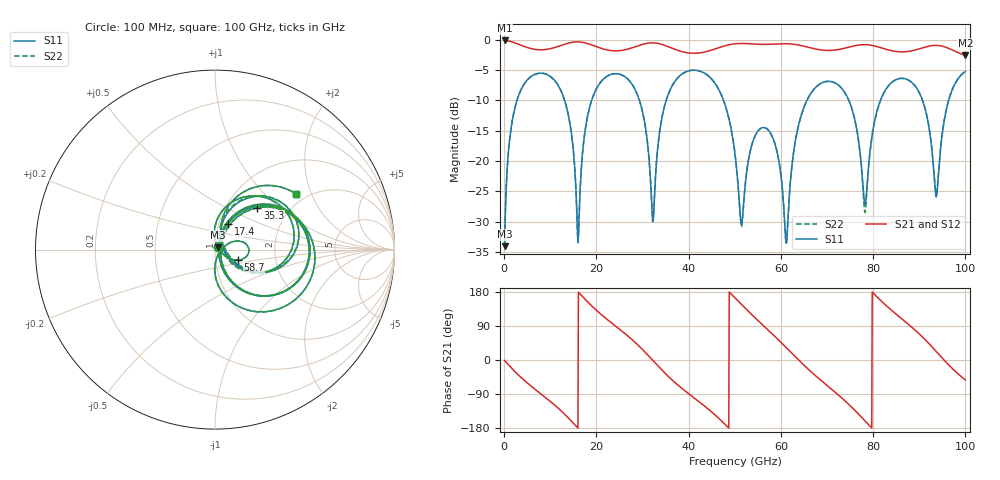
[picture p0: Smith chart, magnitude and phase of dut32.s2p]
! Touchstone file exported from HFSS 2026.1.0
!  File:  C:/ffzhzh/LocalFiles/Ansys_Project_Files/temp_train_TSV_RDL_32_1783441203_7600.aedt
!  Generated:  12:34:08 AM Jul  8, 2026
!  Design:  TSV_RDL
!  Project:  temp_train_TSV_RDL_32_1783441203_7600
! Variables:
!  h_bsmrdl = 4.23um
!  h_ox = 20um
!  h_rdl = 5um
!  h_sub = 95.53um
!  h_tmrdl = 3.39um
!  h_tsv = 95.53um
!  h_via = 3um
!  l_bsmrdl = 645.23um
!  l_sub = 3647.72um
!  l_tmrdl = 287.71um
!  m_sub = 200um
!  pitch = 55.62um
!  r_tsv = 5.39um
!  s_tmrdl = 10um
!  w_bsmrdl = 24.39um
!  w_sub = 500um
!  w_tmrdl = 29.34um
!  x_tsv_center1 = 302.38um
!  x_tsv_center2 = 972um
!  x_tsv_center3 = 1289.05um
!  x_tsv_center4 = 1958.67um
!  x_tsv_center5 = 2275.72um
!  x_tsv_center6 = 2945.34um
# GHz S MA R 50.000000
! Terminal data exported
! Port[1] = TM_RDL1_1_T1
! Port[2] = TM_RDL5_1_T1
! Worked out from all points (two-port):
!   1000 points, 100 MHz to 100 GHz, reference 50 ohm
!   highest |S21| = -0.13 dB at 100 MHz (marker M1); lowest = -2.6 dB at 100 GHz (marker M2)
!   |S21| within 3 dB of the highest: start of sweep to end of sweep
!   lowest |S11| = -34.0 dB at 100 MHz (marker M3), VSWR 1.04, Z = 51.5 + j1.39 ohm
!   |S11| at or under -10 dB: 13.11 GHz to 18.97 GHz (5.865 GHz wide, 36.6 % of centre); 47.56 GHz to 65.64 GHz (18.08 GHz wide, 31.9 % of centre); 74.73 GHz to 81.58 GHz (6.854 GHz wide, 8.77 % of centre) (the widest 3 of 6)
!   |S22| runs from -34.0 to -5.0 dB; largest |S21 - S12| = 1.3e-12
!   S11 on the Smith chart (normalised r, x): 100 MHz: 1.03, +0.03; 17.4 GHz: 1.10, +0.33; 35.3 GHz: 1.39, +0.73; 58.7 GHz: 1.28, -0.15; 100 GHz: 1.76, +1.56
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0.1  0.01992 42.5  0.9856 -1.4  0.9856 -1.4  0.01992 42.5
! Gamma 0 0 0 0
! Port Impedance 50 0 50 0
1.9  0.2297 60.2  0.9542 -25.1  0.9542 -25.1  0.2297 60.2
5.9  0.4993 18.2  0.8438 -69.5  0.8438 -69.5  0.4993 18.2
11.9  0.408 -38.8  0.8852 -129.1  0.8852 -129.1  0.408 -38.8
16.8  0.09464 65.8  0.9537 169.9  0.9537 169.9  0.0948 65.5
17.4  0.1618 63.6  0.944 162.2  0.944 162.2  0.1619 63.4
26.2  0.4947 -20.1  0.8256 69.7  0.8256 69.7  0.4948 -20.1
32.2  0.03163 -12.7  0.9419 -0.7  0.9419 -0.7  0.03234 -12.4
33.4  0.1398 60.1  0.9309 -16.4  0.9309 -16.4  0.1401 59.7
35.3  0.3317 44.7  0.884 -40.0  0.884 -40.0  0.3319 44.5
43.4  0.5309 -30.3  0.7907 -121.1  0.7907 -121.1  0.5311 -30.5
50.1  0.1105 -90.3  0.9257 163.2  0.9257 163.2  0.1104 -91.0
51.5  0.03004 -24.4  0.931 145.9  0.931 145.9  0.02891 -24.5
58.7  0.1393 -24.7  0.9205 62.1  0.9205 62.1  0.1391 -24.7
61.2  0.02108 35.6  0.9258 32.2  0.9258 32.2  0.02086 36.0
66.7  0.3709 53.8  0.8517 -32.7  0.8517 -32.7  0.3709 53.7
74.4  0.3368 -19.4  0.8615 -113.5  0.8615 -113.5  0.3366 -20.0
78.2  0.04377 14.1  0.9108 -160.2  0.9108 -160.2  0.03775 13.1
83.4  0.4211 43.5  0.822 137.4  0.822 137.4  0.4205 44.4
90.1  0.3594 -17.9  0.8437 67.7  0.8437 67.7  0.3594 -17.1
93.7  0.05075 22.9  0.8982 22.2  0.8982 22.2  0.05389 23.5
100  0.5471 34.5  0.744 -52.9  0.744 -52.9  0.5475 34.6
